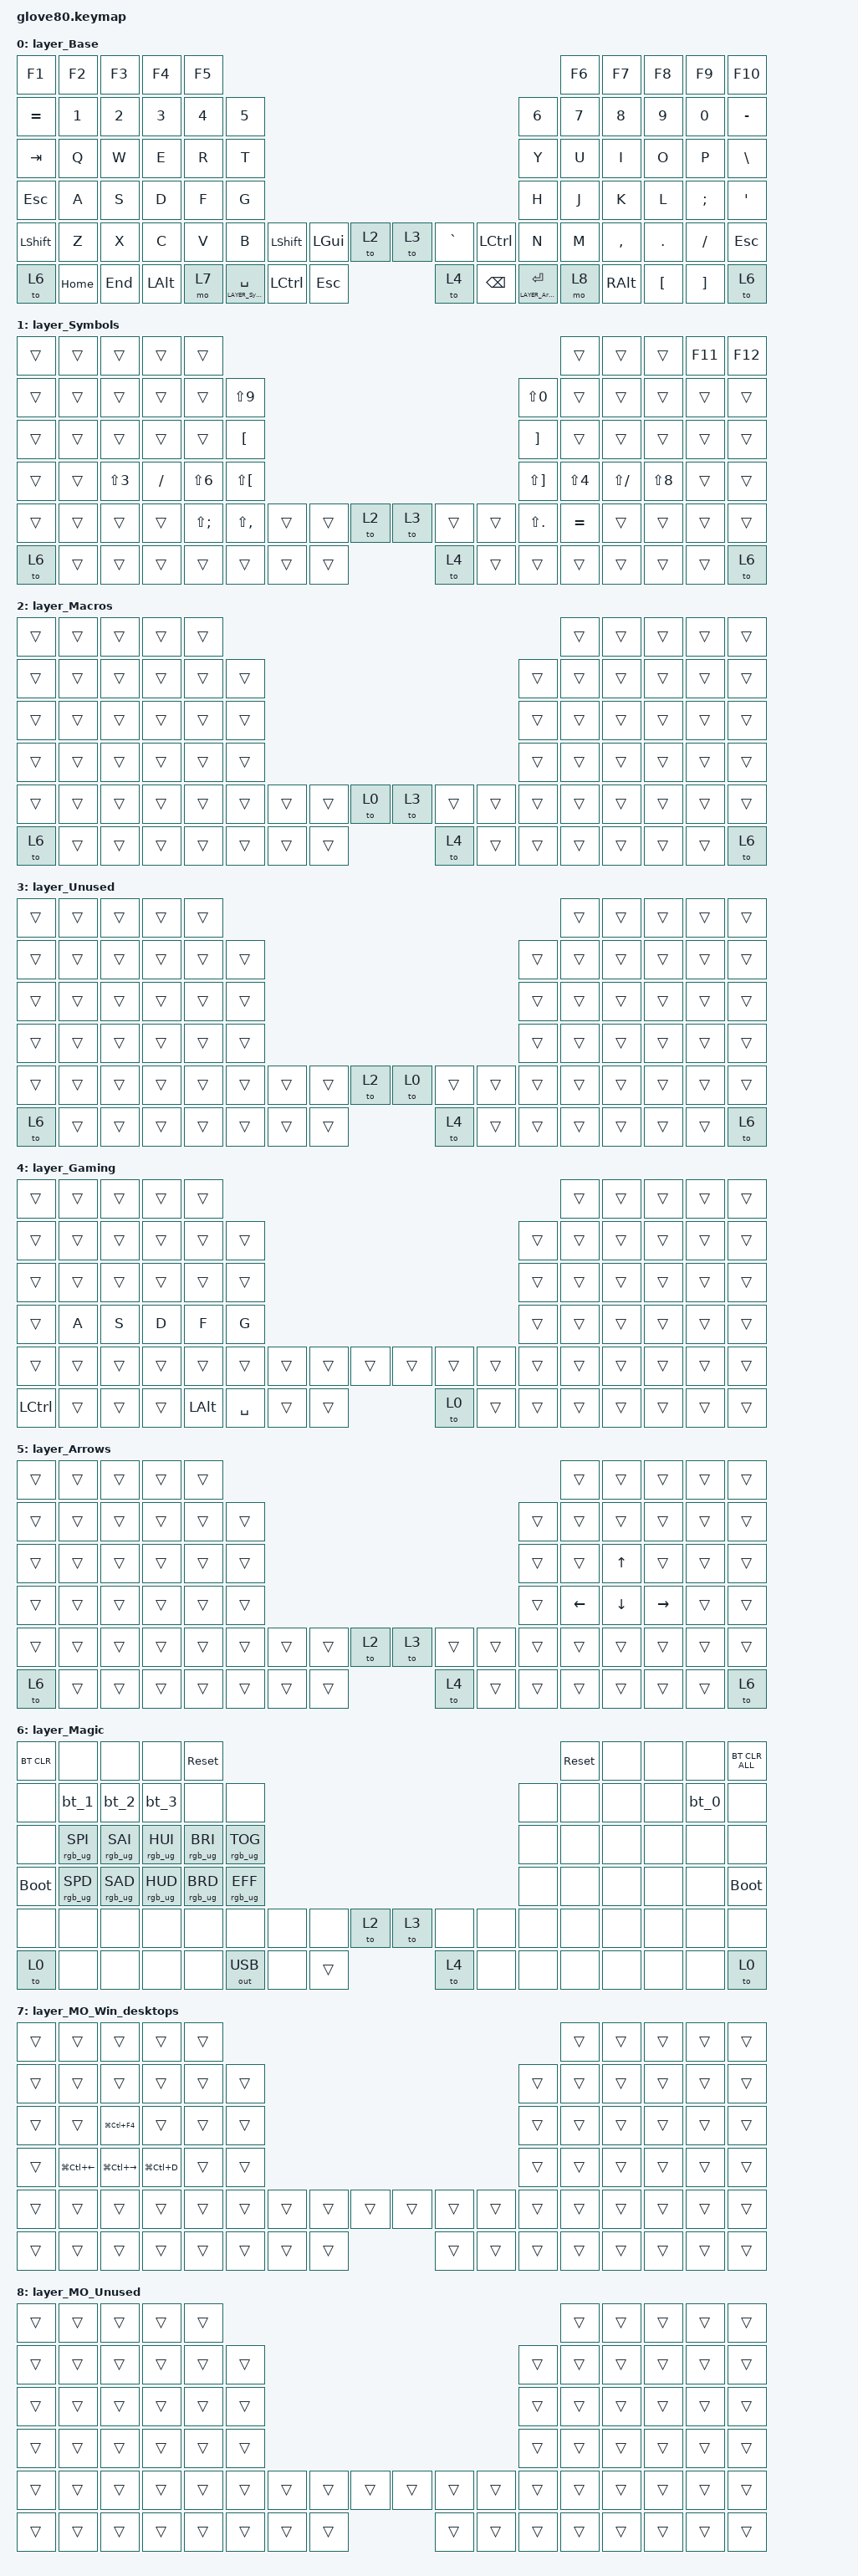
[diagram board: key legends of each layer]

/*
 * Copyright (c) 2020 The ZMK Contributors
 * Copyright (c) 2023 Innaworks Development Limited, trading as MoErgo
 *
 * SPDX-License-Identifier: MIT
 */


/* THIS FILE WAS GENERATED BY GLOVE80 LAYOUT EDITOR
 *
 * This file was generated automatically. You may or may not want to
 * edit it directly.
 */

#include <behaviors.dtsi>
/* Include all behavior includes needed */
#include <dt-bindings/zmk/outputs.h>
#include <dt-bindings/zmk/keys.h>
#include <dt-bindings/zmk/bt.h>
#include <dt-bindings/zmk/rgb.h>

/* On demand includes */


/* Automatically generated layer name #define */
#define LAYER_Base 0
#define LAYER_Symbols 1
#define LAYER_Macros 2
#define LAYER_Unused 3
#define LAYER_Gaming 4
#define LAYER_Arrows 5
#define LAYER_Magic 6
#define LAYER_MO_Win_desktops 7
#define LAYER_MO_Unused 8

/* To deal with the situation where there is no Lower layer, to keep &lower happy */
#ifndef LAYER_Lower
#define LAYER_Lower 0
#endif

/* Custom Device-tree */



/* Glove80 system behavior & macros */
/ {
    behaviors {
        // For the "layer" key, it'd nice to be able to use it as either a shift or a toggle.
        // Configure it as a tap dance, so the first tap (or hold) is a &mo and the second tap is a &to
        lower: lower {
            compatible = "zmk,behavior-tap-dance";
            label = "LAYER_TAP_DANCE";
            #binding-cells = <0>;
            tapping-term-ms = <200>;
            bindings = <&mo LAYER_Lower>, <&to LAYER_Lower>;
        };
    };
};

/ {
    macros {
        rgb_ug_status_macro: rgb_ug_status_macro {
            label = "RGB_UG_STATUS";
            compatible = "zmk,behavior-macro";
            #binding-cells = <0>;
            bindings
                = <&rgb_ug RGB_STATUS>;
        };
    };
};


/ {
#ifdef BT_DISC_CMD
    behaviors {
        bt_0: bt_0 {
            compatible = "zmk,behavior-tap-dance";
            label = "BT_0";
            #binding-cells = <0>;
            tapping-term-ms = <200>;
            bindings = <&bt_select_0>, <&bt BT_DISC 0>;
        };
        bt_1: bt_1 {
            compatible = "zmk,behavior-tap-dance";
            label = "BT_1";
            #binding-cells = <0>;
            tapping-term-ms = <200>;
            bindings = <&bt_select_1>, <&bt BT_DISC 1>;
        };
        bt_2: bt_2 {
            compatible = "zmk,behavior-tap-dance";
            label = "BT_2";
            #binding-cells = <0>;
            tapping-term-ms = <200>;
            bindings = <&bt_select_2>, <&bt BT_DISC 2>;
        };
        bt_3: bt_3 {
            compatible = "zmk,behavior-tap-dance";
            label = "BT_3";
            #binding-cells = <0>;
            tapping-term-ms = <200>;
            bindings = <&bt_select_3>, <&bt BT_DISC 3>;
        };
    };
    macros {
        bt_select_0: bt_select_0 {
            label = "BT_SELECT_0";
            compatible = "zmk,behavior-macro";
            #binding-cells = <0>;
            bindings
                = <&out OUT_BLE>,
                  <&bt BT_SEL 0>;
        };
        bt_select_1: bt_select_1 {
            label = "BT_SELECT_1";
            compatible = "zmk,behavior-macro";
            #binding-cells = <0>;
            bindings
                = <&out OUT_BLE>,
                  <&bt BT_SEL 1>;
        };
        bt_select_2: bt_select_2 {
            label = "BT_SELECT_2";
            compatible = "zmk,behavior-macro";
            #binding-cells = <0>;
            bindings
                = <&out OUT_BLE>,
                  <&bt BT_SEL 2>;
        };
        bt_select_3: bt_select_3 {
            label = "BT_SELECT_3";
            compatible = "zmk,behavior-macro";
            #binding-cells = <0>;
            bindings
                = <&out OUT_BLE>,
                  <&bt BT_SEL 3>;
        };
    };
#else
    macros {
        bt_0: bt_0 {
            label = "BT_0";
            compatible = "zmk,behavior-macro";
            #binding-cells = <0>;
            bindings
                = <&out OUT_BLE>,
                  <&bt BT_SEL 0>;
        };
        bt_1: bt_1 {
            label = "BT_1";
            compatible = "zmk,behavior-macro";
            #binding-cells = <0>;
            bindings
                = <&out OUT_BLE>,
                  <&bt BT_SEL 1>;
        };
        bt_2: bt_2 {
            label = "BT_2";
            compatible = "zmk,behavior-macro";
            #binding-cells = <0>;
            bindings
                = <&out OUT_BLE>,
                  <&bt BT_SEL 2>;
        };
        bt_3: bt_3 {
            label = "BT_3";
            compatible = "zmk,behavior-macro";
            #binding-cells = <0>;
            bindings
                = <&out OUT_BLE>,
                  <&bt BT_SEL 3>;
        };
    };
#endif
};

/ {
    behaviors {
        magic: magic {
            compatible = "zmk,behavior-hold-tap";
            label = "MAGIC_HOLD_TAP";
            #binding-cells = <2>;
            flavor = "tap-preferred";
            tapping-term-ms = <200>;
            bindings = <&mo>, <&rgb_ug_status_macro>;
        };
    };
};

/* #define for key positions */
#define POS_LH_T1 52
#define POS_LH_T2 53
#define POS_LH_T3 54
#define POS_LH_T4 69
#define POS_LH_T5 70
#define POS_LH_T6 71
#define POS_LH_C1R2 15
#define POS_LH_C1R3 27
#define POS_LH_C1R4 39
#define POS_LH_C1R5 51
#define POS_LH_C2R1 4
#define POS_LH_C2R2 14
#define POS_LH_C2R3 26
#define POS_LH_C2R4 38
#define POS_LH_C2R5 50
#define POS_LH_C2R6 68
#define POS_LH_C3R1 3
#define POS_LH_C3R2 13
#define POS_LH_C3R3 25
#define POS_LH_C3R4 37
#define POS_LH_C3R5 49
#define POS_LH_C3R6 67
#define POS_LH_C4R1 2
#define POS_LH_C4R2 12
#define POS_LH_C4R3 24
#define POS_LH_C4R4 36
#define POS_LH_C4R5 48
#define POS_LH_C4R6 66
#define POS_LH_C5R1 1
#define POS_LH_C5R2 11
#define POS_LH_C5R3 23
#define POS_LH_C5R4 35
#define POS_LH_C5R5 47
#define POS_LH_C5R6 65
#define POS_LH_C6R1 0
#define POS_LH_C6R2 10
#define POS_LH_C6R3 22
#define POS_LH_C6R4 34
#define POS_LH_C6R5 46
#define POS_LH_C6R6 64
#define POS_RH_T1 57
#define POS_RH_T2 56
#define POS_RH_T3 55
#define POS_RH_T4 74
#define POS_RH_T5 73
#define POS_RH_T6 72
#define POS_RH_C1R2 16
#define POS_RH_C1R3 28
#define POS_RH_C1R4 40
#define POS_RH_C1R5 58
#define POS_RH_C2R1 5
#define POS_RH_C2R2 17
#define POS_RH_C2R3 29
#define POS_RH_C2R4 41
#define POS_RH_C2R5 59
#define POS_RH_C2R6 75
#define POS_RH_C3R1 6
#define POS_RH_C3R2 18
#define POS_RH_C3R3 30
#define POS_RH_C3R4 42
#define POS_RH_C3R5 60
#define POS_RH_C3R6 76
#define POS_RH_C4R1 7
#define POS_RH_C4R2 19
#define POS_RH_C4R3 31
#define POS_RH_C4R4 43
#define POS_RH_C4R5 61
#define POS_RH_C4R6 77
#define POS_RH_C5R1 8
#define POS_RH_C5R2 20
#define POS_RH_C5R3 32
#define POS_RH_C5R4 44
#define POS_RH_C5R5 62
#define POS_RH_C5R6 78
#define POS_RH_C6R1 9
#define POS_RH_C6R2 21
#define POS_RH_C6R3 33
#define POS_RH_C6R4 45
#define POS_RH_C6R5 63
#define POS_RH_C6R6 79

/* Custom Defined Behaviors */
/ {
#define OPERATING_SYSTEM 'W'

    #define _C      LC
    #define _A_TAB  LALT
    #define _G_TAB  LGUI
    #define _REDO   _C(Y)
    #define _POWER  C_POWER
    #define _W      _C
    #define _HOME   HOME
    #define _END    END


#define _SLEEP      C_SLEEP


    #define _LOCK   LG(L)
#define _UNDO       _C(Z)
#define _CUT        _C(X)
#define _COPY       _C(C)
#define _PASTE      _C(V)
#define _FIND       _C(F)
#define _FIND_NEXT  _C(G)
#define _FIND_PREV  _C(LS(G))


#undef  AMPS
#define AMPS  LS(N7)
#undef  AT
#define AT    LS(N2)
#undef  CARET
#define CARET LS(N6)
#undef  COLON
#define COLON LS(SEMI)
#undef  DLLR
#define DLLR  LS(N4)
#undef  DQT
#define DQT   LS(SQT)
#undef  EXCL
#define EXCL  LS(N1)
#undef  GT
#define GT    LS(DOT)
#undef  HASH
#define HASH  LS(N3)
#undef  LBRC
#define LBRC  LS(LBKT)
#undef  LPAR
#define LPAR  LS(N9)
#undef  LT
#define LT    LS(COMMA)
#undef  PIPE
#define PIPE  LS(BSLH)
#undef  PLUS
#define PLUS  LS(EQUAL)
#undef  PRCNT
#define PRCNT LS(N5)
#undef  QMARK
#define QMARK LS(FSLH)
#undef  RBRC
#define RBRC  LS(RBKT)
#undef  RPAR
#define RPAR  LS(N0)
#undef  STAR
#define STAR  LS(N8)
#undef  TILDE
#define TILDE LS(GRAVE)
#undef  UNDER
#define UNDER LS(MINUS)

behaviors{
mymt_keybind: my_modtap_keybind{
    compatible = "zmk,behavior-hold-tap";
    flavor = "tap-preferred";
    tapping-term-ms = <300>;
    require-prior-idle-ms = <150>;
    #binding-cells = <2>;
    bindings = <&kp>, <&kp>;
};
#define mymt(hold,tap) mymt_keybind hold tap

mymomt: my_layer_modtap_keybind{
    compatible = "zmk,behavior-hold-tap";
    flavor = "tap-preferred";
    tapping-term-ms = <300>;
    require-prior-idle-ms = <150>;
    #binding-cells = <2>;
    bindings = <&mo>, <&kp>;
};
// #define mymomt(hold,tap) mymomt_keybind hold tap
};
};

/* Automatically generated macro definitions */
/ {
    macros {

    };
};

/* Automatically generated behavior definitions */
/ {
    behaviors {
    
    };
};

/* Automatically generated combos definitions */


/* Automatically generated keymap */
/ {
    keymap {
        compatible = "zmk,keymap";


        layer_Base {
            bindings = <
    &kp F1    &kp F2   &kp F3    &kp F4  &kp F5                                                                                                                  &kp F6     &kp F7    &kp F8    &kp F9    &kp F10
 &kp EQUAL    &kp N1   &kp N2    &kp N3  &kp N4  &kp N5                                                                                                  &kp N6  &kp N7     &kp N8    &kp N9    &kp N0  &kp MINUS
   &kp TAB     &kp Q    &kp W     &kp E   &kp R   &kp T                                                                                                   &kp Y   &kp U      &kp I     &kp O     &kp P   &kp BSLH
   &kp ESC     &kp A    &kp S     &kp D   &kp F   &kp G                                                                                                   &kp H   &kp J      &kp K     &kp L  &kp SEMI    &kp SQT
 &kp LSHFT     &kp Z    &kp X     &kp C   &kp V   &kp B                    &kp LSHFT   &kp LGUI    &to 2   &to 3  &kp GRAVE                   &kp LCTRL   &kp N   &kp M  &kp COMMA   &kp DOT  &kp FSLH    &kp ESC
     &to 6  &kp HOME  &kp END  &kp LALT   &mo 7          &mymomt LAYER_Symbols SPACE  &kp LCTRL  &kp ESC   &to 4   &kp BSPC  &mymomt LAYER_Arrows ENTER           &mo 8   &kp RALT  &kp LBKT  &kp RBKT      &to 6
            >;
        };

        layer_Symbols {
            bindings = <
 &trans  &trans    &trans    &trans     &trans                                                                         &trans     &trans    &trans  &kp F11  &kp F12
 &trans  &trans    &trans    &trans     &trans  &kp LPAR                                                  &kp RPAR     &trans     &trans    &trans   &trans   &trans
 &trans  &trans    &trans    &trans     &trans  &kp LBKT                                                  &kp RBKT     &trans     &trans    &trans   &trans   &trans
 &trans  &trans  &kp HASH  &kp FSLH  &kp CARET  &kp LBRC                                                  &kp RBRC   &kp DLLR  &kp QMARK  &kp STAR   &trans   &trans
 &trans  &trans    &trans    &trans  &kp COLON    &kp LT  &trans  &trans   &to 2   &to 3  &trans  &trans    &kp GT  &kp EQUAL     &trans    &trans   &trans   &trans
  &to 6  &trans    &trans    &trans     &trans            &trans  &trans  &trans   &to 4  &trans  &trans               &trans     &trans    &trans   &trans    &to 6
            >;
        };

        layer_Macros {
            bindings = <
 &trans  &trans  &trans  &trans  &trans                                                                  &trans  &trans  &trans  &trans  &trans
 &trans  &trans  &trans  &trans  &trans  &trans                                                  &trans  &trans  &trans  &trans  &trans  &trans
 &trans  &trans  &trans  &trans  &trans  &trans                                                  &trans  &trans  &trans  &trans  &trans  &trans
 &trans  &trans  &trans  &trans  &trans  &trans                                                  &trans  &trans  &trans  &trans  &trans  &trans
 &trans  &trans  &trans  &trans  &trans  &trans  &trans  &trans   &to 0   &to 3  &trans  &trans  &trans  &trans  &trans  &trans  &trans  &trans
  &to 6  &trans  &trans  &trans  &trans          &trans  &trans  &trans   &to 4  &trans  &trans          &trans  &trans  &trans  &trans   &to 6
            >;
        };

        layer_Unused {
            bindings = <
 &trans  &trans  &trans  &trans  &trans                                                                  &trans  &trans  &trans  &trans  &trans
 &trans  &trans  &trans  &trans  &trans  &trans                                                  &trans  &trans  &trans  &trans  &trans  &trans
 &trans  &trans  &trans  &trans  &trans  &trans                                                  &trans  &trans  &trans  &trans  &trans  &trans
 &trans  &trans  &trans  &trans  &trans  &trans                                                  &trans  &trans  &trans  &trans  &trans  &trans
 &trans  &trans  &trans  &trans  &trans  &trans  &trans  &trans   &to 2   &to 0  &trans  &trans  &trans  &trans  &trans  &trans  &trans  &trans
  &to 6  &trans  &trans  &trans  &trans          &trans  &trans  &trans   &to 4  &trans  &trans          &trans  &trans  &trans  &trans   &to 6
            >;
        };

        layer_Gaming {
            bindings = <
    &trans  &trans  &trans  &trans    &trans                                                                     &trans  &trans  &trans  &trans  &trans
    &trans  &trans  &trans  &trans    &trans  &trans                                                     &trans  &trans  &trans  &trans  &trans  &trans
    &trans  &trans  &trans  &trans    &trans  &trans                                                     &trans  &trans  &trans  &trans  &trans  &trans
    &trans   &kp A   &kp S   &kp D     &kp F   &kp G                                                     &trans  &trans  &trans  &trans  &trans  &trans
    &trans  &trans  &trans  &trans    &trans  &trans     &trans  &trans  &trans  &trans  &trans  &trans  &trans  &trans  &trans  &trans  &trans  &trans
 &kp LCTRL  &trans  &trans  &trans  &kp LALT          &kp SPACE  &trans  &trans   &to 0  &trans  &trans          &trans  &trans  &trans  &trans  &trans
            >;
        };

        layer_Arrows {
            bindings = <
 &trans  &trans  &trans  &trans  &trans                                                                    &trans    &trans     &trans  &trans  &trans
 &trans  &trans  &trans  &trans  &trans  &trans                                                  &trans    &trans    &trans     &trans  &trans  &trans
 &trans  &trans  &trans  &trans  &trans  &trans                                                  &trans    &trans    &kp UP     &trans  &trans  &trans
 &trans  &trans  &trans  &trans  &trans  &trans                                                  &trans  &kp LEFT  &kp DOWN  &kp RIGHT  &trans  &trans
 &trans  &trans  &trans  &trans  &trans  &trans  &trans  &trans   &to 2   &to 3  &trans  &trans  &trans    &trans    &trans     &trans  &trans  &trans
  &to 6  &trans  &trans  &trans  &trans          &trans  &trans  &trans   &to 4  &trans  &trans            &trans    &trans     &trans  &trans   &to 6
            >;
        };

        layer_Magic {
            bindings = <
  &bt BT_CLR            &none            &none            &none       &sys_reset                                                                                 &sys_reset   &none   &none   &none  &bt BT_CLR_ALL
       &none            &bt_1            &bt_2            &bt_3            &none            &none                                                         &none       &none   &none   &none   &bt_0           &none
       &none  &rgb_ug RGB_SPI  &rgb_ug RGB_SAI  &rgb_ug RGB_HUI  &rgb_ug RGB_BRI  &rgb_ug RGB_TOG                                                         &none       &none   &none   &none   &none           &none
 &bootloader  &rgb_ug RGB_SPD  &rgb_ug RGB_SAD  &rgb_ug RGB_HUD  &rgb_ug RGB_BRD  &rgb_ug RGB_EFF                                                         &none       &none   &none   &none   &none     &bootloader
       &none            &none            &none            &none            &none            &none         &none   &none   &to 2   &to 3   &none   &none   &none       &none   &none   &none   &none           &none
       &to 0            &none            &none            &none            &none                   &out OUT_USB   &none  &trans   &to 4   &none   &none               &none   &none   &none   &none           &to 0
            >;
        };

        layer_MO_Win_desktops {
            bindings = <
 &trans            &trans             &trans         &trans  &trans                                                                  &trans  &trans  &trans  &trans  &trans
 &trans            &trans             &trans         &trans  &trans  &trans                                                  &trans  &trans  &trans  &trans  &trans  &trans
 &trans            &trans     &kp LG(LC(F4))         &trans  &trans  &trans                                                  &trans  &trans  &trans  &trans  &trans  &trans
 &trans  &kp LG(LC(LEFT))  &kp LG(LC(RIGHT))  &kp LG(LC(D))  &trans  &trans                                                  &trans  &trans  &trans  &trans  &trans  &trans
 &trans            &trans             &trans         &trans  &trans  &trans  &trans  &trans  &trans  &trans  &trans  &trans  &trans  &trans  &trans  &trans  &trans  &trans
 &trans            &trans             &trans         &trans  &trans          &trans  &trans  &trans  &trans  &trans  &trans          &trans  &trans  &trans  &trans  &trans
            >;
        };

        layer_MO_Unused {
            bindings = <
 &trans  &trans  &trans  &trans  &trans                                                                  &trans  &trans  &trans  &trans  &trans
 &trans  &trans  &trans  &trans  &trans  &trans                                                  &trans  &trans  &trans  &trans  &trans  &trans
 &trans  &trans  &trans  &trans  &trans  &trans                                                  &trans  &trans  &trans  &trans  &trans  &trans
 &trans  &trans  &trans  &trans  &trans  &trans                                                  &trans  &trans  &trans  &trans  &trans  &trans
 &trans  &trans  &trans  &trans  &trans  &trans  &trans  &trans  &trans  &trans  &trans  &trans  &trans  &trans  &trans  &trans  &trans  &trans
 &trans  &trans  &trans  &trans  &trans          &trans  &trans  &trans  &trans  &trans  &trans          &trans  &trans  &trans  &trans  &trans
            >;
        };

    };
};
